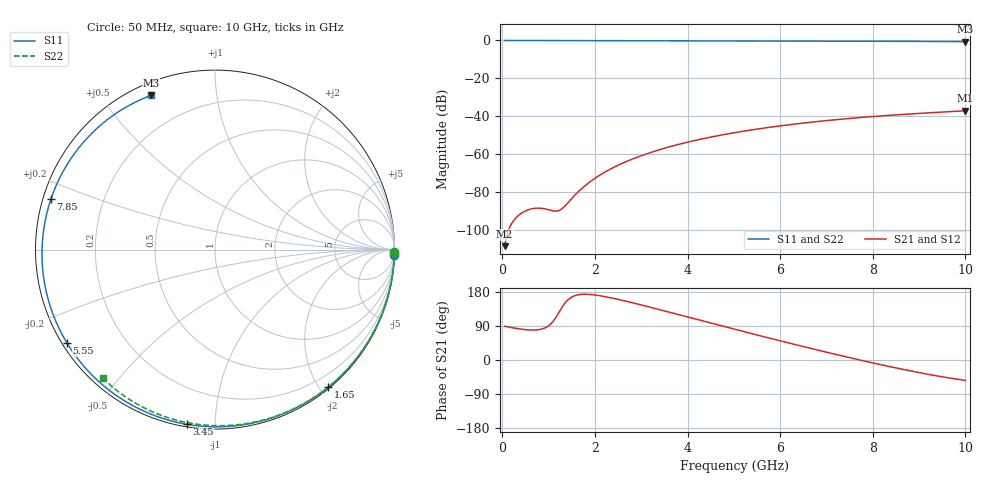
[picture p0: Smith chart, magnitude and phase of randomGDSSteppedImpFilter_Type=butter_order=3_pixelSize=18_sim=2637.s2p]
! freq	dB(S11)	phase(S11)	dB(S12)	phase(S12)
!  dB(S21)	phase(S21)	dB(S22)	phase(S22)
!S-par simulation data
#  GHz  S  DB  R 50
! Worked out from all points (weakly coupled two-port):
!   200 points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, 50 MHz to 10 GHz, reference 50 ohm
!   highest |S21| = -37.01 dB at 10 GHz (marker M1); lowest = -108.3 dB at 50 MHz (marker M2)
!   lowest |S11| = -0.6 dB at 10 GHz (marker M3), VSWR 27.63, Z = 2.61 + j33.3 ohm
!   |S11| at or under -10 dB: nowhere
!   |S22| runs from -0.4 to 0.0 dB; largest |S21 - S12| = 0
!   S11 on the Smith chart (normalised r, x): 50 MHz: 0, -72; 1.65 GHz: 0.02, -2.12; 3.45 GHz: 0.01, -0.85; 5.55 GHz: 0.01, -0.29; 7.85 GHz: 0.02, +0.15; 10 GHz: 0.05, +0.67
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0.05  -0.00 -1.6  -108.34 89.1  -108.34 89.1  -0.00 -0.8
0.4  -0.02 -12.6  -91.16 81.6  -91.16 81.6  -0.01 -6.0
0.8  -0.03 -25.0  -88.32 80.3  -88.32 80.3  -0.02 -12.1
1.2  -0.05 -37.2  -89.78 120.9  -89.78 120.9  -0.02 -18.0
1.6  -0.06 -49.1  -80.66 171.0  -80.66 171.0  -0.03 -23.9
1.65  -0.06 -50.5  -79.46 172.3  -79.46 172.3  -0.03 -24.7
1.75  -0.07 -53.4  -77.24 173.5  -77.24 173.5  -0.03 -26.1
2.05  -0.08 -62.0  -71.77 170.8  -71.77 170.8  -0.04 -30.5
2.45  -0.09 -73.1  -66.30 161.5  -66.30 161.5  -0.05 -36.3
2.9  -0.10 -85.2  -61.60 148.4  -61.60 148.4  -0.06 -42.8
3.4  -0.12 -98.0  -57.49 132.7  -57.49 132.7  -0.07 -49.8
3.45  -0.12 -99.2  -57.13 131.2  -57.13 131.2  -0.07 -50.5
4.2  -0.15 -117.4  -52.45 107.1  -52.45 107.1  -0.09 -60.8
5.05  -0.19 -136.8  -48.43 80.1  -48.43 80.1  -0.11 -72.1
5.55  -0.22 -147.7  -46.50 64.4  -46.50 64.4  -0.13 -78.5
6.15  -0.26 -160.6  -44.52 46.0  -44.52 46.0  -0.15 -86.1
6.7  -0.29 -172.3  -42.96 29.5  -42.96 29.5  -0.18 -92.9
7.3  -0.34 174.9  -41.50 11.9  -41.50 11.9  -0.21 -100.1
7.85  -0.39 163.0  -40.35 -3.6  -40.35 -3.6  -0.25 -106.6
8.35  -0.43 151.9  -39.44 -17.1  -39.44 -17.1  -0.29 -112.4
9.15  -0.52 133.5  -38.20 -36.7  -38.20 -36.7  -0.36 -121.6
10  -0.63 112.6  -37.01 -53.8  -37.01 -53.8  -0.45 -131.2
